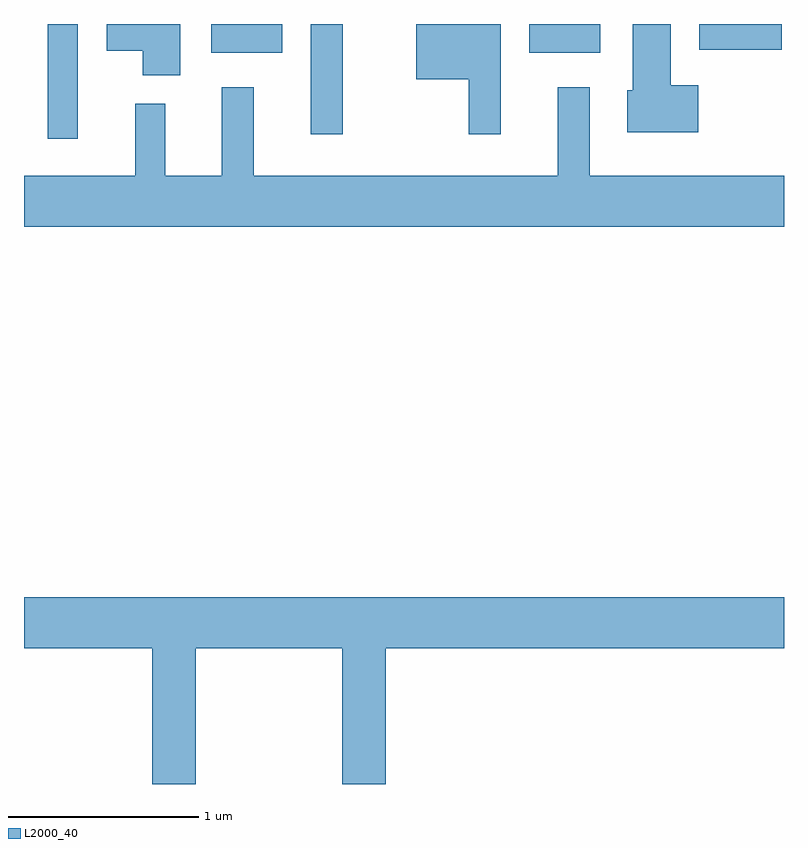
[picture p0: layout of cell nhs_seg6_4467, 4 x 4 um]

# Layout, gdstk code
import gdstk
lib = gdstk.Library(unit=1e-6, precision=1e-09)
def R(c, l, rs):  # rectangles x0, y0, x1, y1
    for r in rs: c.add(gdstk.rectangle(r[:2], r[2:], *l))
def P(c, l, *ps):  # polygons
    for p in ps: c.add(gdstk.Polygon(p, *l))
L2000_40 = (2000, 40)

nhs_seg6_4467 = lib.new_cell('nhs_seg6_4467')
R(nhs_seg6_4467, L2000_40, [(321.736,1601.558,321.894,1602.162), (323.121,1601.583,323.289,1602.162), (322.596,1602.011,322.969,1602.162), (324.271,1602.011,324.644,1602.162), (325.166,1602.026,325.599,1602.162)])
P(nhs_seg6_4467, L2000_40, [(322.434,1602.162),(322.046,1602.162),(322.046,1602.021),(322.236,1602.021),(322.236,1601.891),(322.434,1601.891)],
  [(325.159,1601.839),(325.014,1601.839),(325.014,1602.162),(324.816,1602.162),(324.816,1601.814),(324.786,1601.814),(324.786,1601.591),(325.159,1601.591)],
  [(324.119,1602.162),(323.676,1602.162),(323.676,1601.871),(323.951,1601.871),(323.951,1601.583),(324.119,1601.583)],
  [(325.611,1601.364),(324.589,1601.364),(324.589,1601.828),(324.421,1601.828),(324.421,1601.364),(322.819,1601.364),(322.819,1601.828),(322.651,1601.828),(322.651,1601.364),(322.354,1601.364),(322.354,1601.743),(322.196,1601.743),(322.196,1601.364),(321.611,1601.364),(321.611,1601.096),(325.611,1601.096)],
  [(322.514,1598.876),(323.286,1598.876),(323.286,1598.162),(323.514,1598.162),(323.514,1598.876),(325.611,1598.876),(325.611,1599.144),(321.611,1599.144),(321.611,1598.876),(322.286,1598.876),(322.286,1598.162),(322.514,1598.162)])

lib.write_gds('nhs_seg6_4467.gds')
